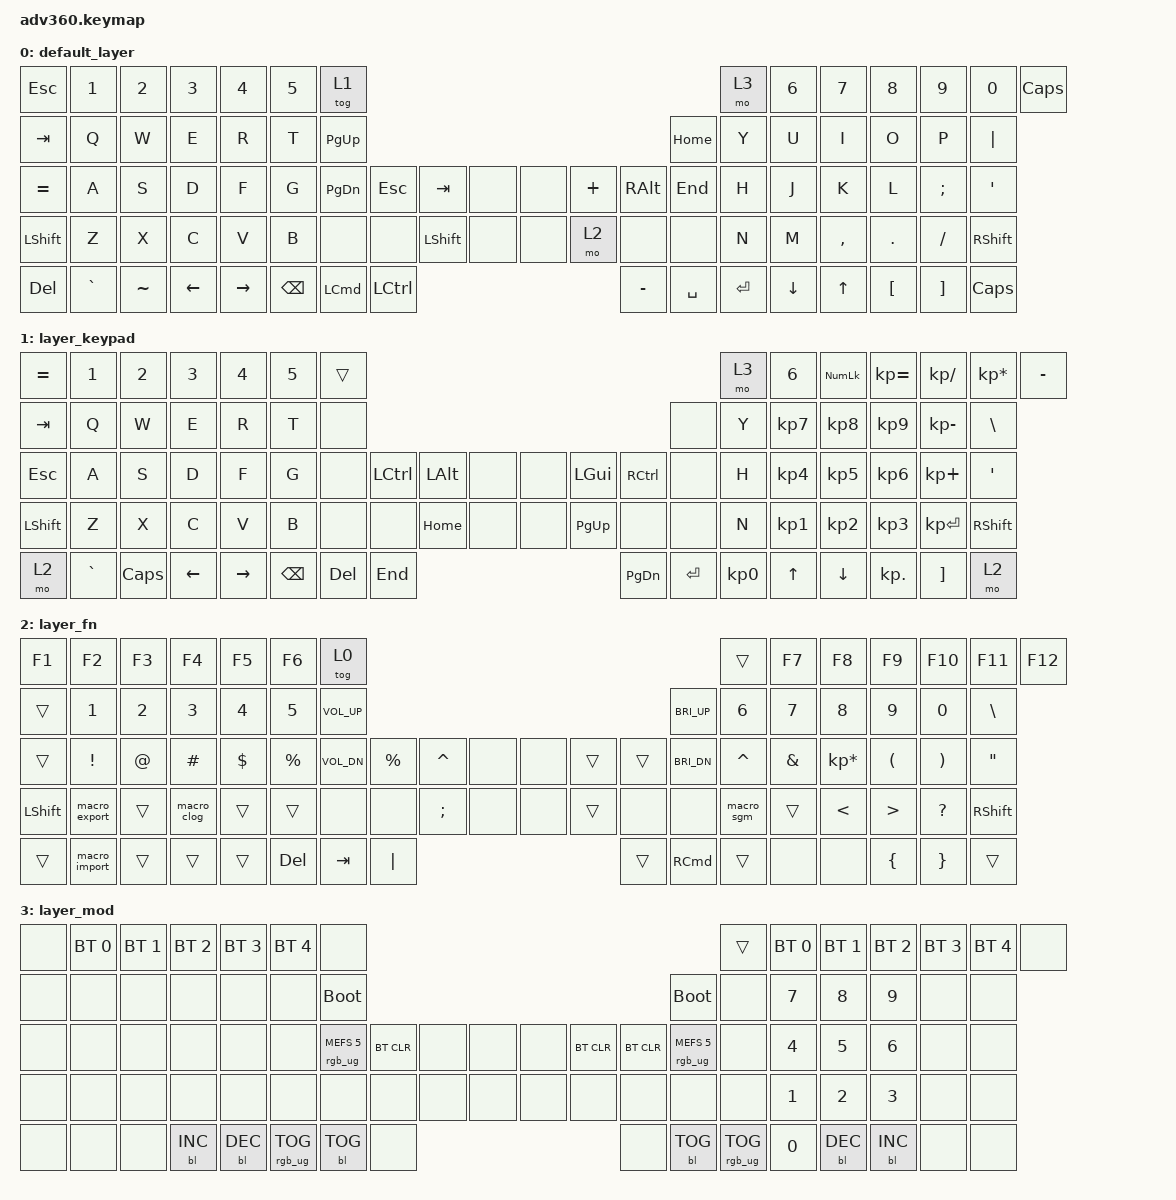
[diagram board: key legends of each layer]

/*
 * Copyright (c) 2020 The ZMK Contributors
 *
 * SPDX-License-Identifier: MIT
 */


/* THIS FILE WAS GENERATED!
 *
 * This file was generated automatically. You may or may not want to
 * edit it directly.
 */

#include <behaviors.dtsi>
#include <dt-bindings/zmk/keys.h>
#include <dt-bindings/zmk/bt.h>
#include <dt-bindings/zmk/rgb.h>
#include <dt-bindings/zmk/backlight.h>

/ {
  behaviors {
    #include "macros.dtsi"
    #include "version.dtsi"

    hm: homerow_mods {
        compatible = "zmk,behavior-hold-tap";
        label = "HOMEROW_MODS";
        #binding-cells = <2>;
        tapping-term-ms = <200>;
        quick_tap_ms = <175>;
        flavor = "tap-preferred";
        bindings = <&kp>, <&kp>;
    };
  };

    keymap {
        compatible = "zmk,keymap";


        default_layer {
            bindings = <
   &kp ESC     &kp N1     &kp N2    &kp N3     &kp N4  &kp N5               &tog 1                                                                             &mo 3  &kp N6    &kp N7     &kp N8    &kp N9         &kp N0  &kp CAPSLOCK
   &kp TAB      &kp Q      &kp W     &kp E      &kp R   &kp T            &kp PG_UP                                                                          &kp HOME   &kp Y     &kp U      &kp I     &kp O          &kp P      &kp PIPE
 &kp EQUAL      &kp A      &kp S     &kp D      &kp F   &kp G            &kp PG_DN           &kp ESC    &kp TAB   &none   &none   &kp PLUS  &kp RIGHT_ALT    &kp END   &kp H     &kp J      &kp K     &kp L  &kp SEMICOLON       &kp SQT
 &kp LSHFT      &kp Z      &kp X     &kp C      &kp V   &kp B                &none             &none  &kp LSHFT   &none   &none      &mo 2          &none      &none   &kp N     &kp M  &kp COMMA   &kp DOT       &kp FSLH     &kp RSHFT
   &kp DEL  &kp GRAVE  &kp TILDE  &kp LEFT  &kp RIGHT                     &kp BSPC  &kp LEFT_COMMAND  &kp LCTRL                  &kp MINUS      &kp SPACE  &kp ENTER          &kp DOWN     &kp UP  &kp LBKT       &kp RBKT      &kp CAPS
            >;
        };

        layer_keypad {
            bindings = <
 &kp EQUAL     &kp N1    &kp N2    &kp N3     &kp N4  &kp N5              &trans                                                                 &mo 3  &kp N6  &kp KP_NUM  &kp KP_EQUAL  &kp KP_DIVIDE  &kp KP_MULTIPLY  &kp MINUS
   &kp TAB      &kp Q     &kp W     &kp E      &kp R   &kp T               &none                                                                 &none   &kp Y   &kp KP_N7     &kp KP_N8      &kp KP_N9     &kp KP_MINUS   &kp BSLH
   &kp ESC      &kp A     &kp S     &kp D      &kp F   &kp G               &none  &kp LCTRL  &kp LALT   &none   &none   &kp LGUI  &kp RCTRL      &none   &kp H   &kp KP_N4     &kp KP_N5      &kp KP_N6      &kp KP_PLUS    &kp SQT
 &kp LSHFT      &kp Z     &kp X     &kp C      &kp V   &kp B               &none      &none  &kp HOME   &none   &none  &kp PG_UP      &none      &none   &kp N   &kp KP_N1     &kp KP_N2      &kp KP_N3     &kp KP_ENTER  &kp RSHFT
     &mo 2  &kp GRAVE  &kp CAPS  &kp LEFT  &kp RIGHT                    &kp BSPC    &kp DEL   &kp END                  &kp PG_DN  &kp ENTER  &kp KP_N0              &kp UP      &kp DOWN     &kp KP_DOT         &kp RBKT      &mo 2
            >;
        };

        layer_fn {
            bindings = <
         &kp F1         &kp F2        &kp F3        &kp F4        &kp F5        &kp F6                  &tog 0                                                                               &trans        &kp F7         &kp F8           &kp F9               &kp F10                &kp F11            &kp F12
         &trans   &kp NUMBER_1  &kp NUMBER_2  &kp NUMBER_3  &kp NUMBER_4  &kp NUMBER_5            &kp C_VOL_UP                                                                         &kp C_BRI_UP  &kp NUMBER_6   &kp NUMBER_7     &kp NUMBER_8          &kp NUMBER_9           &kp NUMBER_0      &kp BACKSLASH
         &trans       &kp EXCL        &kp AT      &kp HASH      &kp DLLR   &kp PERCENT            &kp C_VOL_DN  &kp PERCENT      &kp CARET   &none   &none  &trans             &trans  &kp C_BRI_DN     &kp CARET  &kp AMPERSAND  &kp KP_MULTIPLY  &kp LEFT_PARENTHESIS  &kp RIGHT_PARENTHESIS  &kp DOUBLE_QUOTES
 &kp LEFT_SHIFT  &macro_export        &trans   &macro_clog        &trans        &trans                   &none        &none  &kp SEMICOLON   &none   &none  &trans              &none         &none    &macro_sgm         &trans    &kp LESS_THAN      &kp GREATER_THAN           &kp QUESTION    &kp RIGHT_SHIFT
         &trans  &macro_import        &trans        &trans        &trans                            &kp DELETE      &kp TAB       &kp PIPE                  &trans  &kp RIGHT_COMMAND        &trans                        &none            &none        &kp LEFT_BRACE        &kp RIGHT_BRACE             &trans
            >;
        };

        layer_mod {
            bindings = <
  &none  &bt BT_SEL 0  &bt BT_SEL 1  &bt BT_SEL 2  &bt BT_SEL 3  &bt BT_SEL 4                             &none                                                                              &trans  &bt BT_SEL 0  &bt BT_SEL 1  &bt BT_SEL 2  &bt BT_SEL 3  &bt BT_SEL 4   &none
  &none         &none         &none         &none         &none         &none                       &bootloader                                                                         &bootloader         &none  &kp NUMBER_7  &kp NUMBER_8  &kp NUMBER_9         &none   &none
  &none         &none         &none         &none         &none         &none            &rgb_ug RGB_MEFS_CMD 5  &bt BT_CLR   &none   &none   &none  &bt BT_CLR  &bt BT_CLR  &rgb_ug RGB_MEFS_CMD 5         &none  &kp NUMBER_4  &kp NUMBER_5  &kp NUMBER_6         &none   &none
  &none         &none         &none         &none         &none         &none                             &none       &none   &none   &none   &none       &none       &none                   &none         &none  &kp NUMBER_1  &kp NUMBER_2  &kp NUMBER_3         &none   &none
  &none         &none         &none    &bl BL_INC    &bl BL_DEC                                 &rgb_ug RGB_TOG  &bl BL_TOG   &none                       &none  &bl BL_TOG         &rgb_ug RGB_TOG                &kp NUMBER_0    &bl BL_DEC    &bl BL_INC         &none   &none
            >;
        };

    };
};
